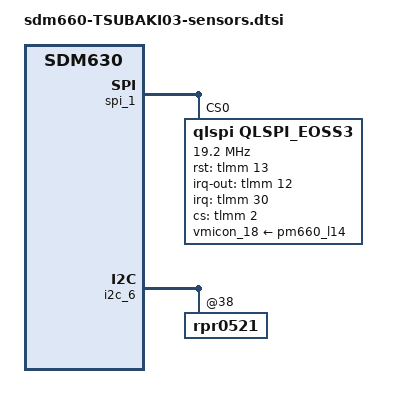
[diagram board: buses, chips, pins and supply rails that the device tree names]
/* Copyright (c) 2017, The Linux Foundation. All rights reserved.
 *
 * This program is free software; you can redistribute it and/or modify
 * it under the terms of the GNU General Public License version 2 and
 * only version 2 as published by the Free Software Foundation.
 *
 * This program is distributed in the hope that it will be useful,
 * but WITHOUT ANY WARRANTY; without even the implied warranty of
 * MERCHANTABILITY or FITNESS FOR A PARTICULAR PURPOSE.  See the
 * GNU General Public License for more details.
 */
/*
 * This software is contributed or developed by KYOCERA Corporation.
 * (C) 2019 KYOCERA Corporation
 */

#include "sdm630-common-sensors.dtsi"
&soc {
	/delete-node/ sensor_power;
};

&spi_1 {
	status = "ok";
	/delete-node/ sensor_micon;
	qlspi_eoss3@0 {
		compatible = "qlspi,qlspi_eoss3";
		reg = <0>;
		interrupt-parent = <&tlmm>;
		interrupts = <30 0>;
		spi-max-frequency = <19200000>;
		spi-min-frequency = <640000>;
		pinctrl-names = "sensor_micon_default", "sensor_micon_active", "sensor_micon_sleep",
						"sensor_micon_spi_cs_active", "sensor_micon_spi_cs_suspend", "sensor_micon_spi_cs_reset",
						"sensor_micon_rst_active", "sensor_micon_rst_suspend",
						"sensor_micon_vmicon_11_active","sensor_micon_vmicon_11_suspend",
						"sensor_micon_vsensor_18_active","sensor_micon_vsensor_18_suspend",
						"sensor_micon_vmicon_18_active","sensor_micon_vmicon_18_suspend",
						"spi_default", "spi_sleep", "sensor_micon_spi_cs_request";
		pinctrl-0 = <&micon_int_n_default &micon_int_out_default &micon_rst_n_default>;
		pinctrl-1 = <&micon_int_n_active &micon_int_out_active &micon_rst_n_active>;
		pinctrl-2 = <&micon_int_n_suspend &micon_int_out_suspend &micon_rst_n_suspend>;
		pinctrl-3 = <&sensor_micon_spi_cs_active>;
		pinctrl-4 = <&sensor_micon_spi_cs_suspend>;
		pinctrl-5 = <&sensor_micon_spi_cs_reset>;
		pinctrl-6 = <&sensor_micon_rst_active>;
		pinctrl-7 = <&sensor_micon_rst_suspend>;
		pinctrl-8 = <&sensor_micon_vmicon_11_active>;
		pinctrl-9 = <&sensor_micon_vmicon_11_suspend>;
		pinctrl-10 = <&sensor_micon_vsensor_18_active>;
		pinctrl-11 = <&sensor_micon_vsensor_18_suspend>;
/*
		pinctrl-12 = <&sensor_micon_vmicon_18_active>;
		pinctrl-13 = <&sensor_micon_vmicon_18_suspend>;
		pinctrl-14 = <&spi_micon_mosi_active
				 	  &spi_micon_miso_active
				 	  &spi_micon_clk_active>;
		pinctrl-15 = <&spi_micon_mosi_suspend
				 	  &spi_micon_miso_suspend
				 	  &spi_micon_clk_suspend>;
		pinctrl-16 = <&sensor_micon_spi_cs_request>;
*/
		qlspi,rst-gpio = <&tlmm 13 0>;
		qlspi,irq-out-gpio = <&tlmm 12 0>;
		qlspi,irq-gpio = <&tlmm 30 0>;
		qlspi,cs-gpio = <&tlmm 2 0>;
		//qlspi,fabrdy-gpio = <&msm_gpio 7 0>;

		spi-cs-low; /* CS Active Level LOW */
		micon-acc-conv_axis = /bits/ 8 <4>;
		micon-gyro-conv_axis = /bits/ 8 <4>;
		micon-mag-conv_axis = /bits/ 8 <4>;
		micon-mag-static_matrix = <0x258A 0x07BC 0x0082 0x0550 0x2198 0x001E 0x058C 0xFA1A 0x27C4>; /* 9610, 1980, 130, 1360, 8600, 30, 1420, -1510, 10180 */

		vmicon_18-supply = <&pm660_l14>;

		vmicon_11 {
			ctrl = <1>; /* 1:pinctrl, 2:pm ldo, 3:pm gpio*/
			gpio = <&tlmm 73 0>;
		};
		vmicon_18 {
			ctrl = <2>; /* 1:pinctrl, 2:pm ldo, 3:pm gpio*/
			voltage-min = <1800000>;
			voltage-max = <1800000>;
			load = <50000>;
		};
		sens_sleep_clk {
			ctrl = <3>; /* 1:pinctrl, 2:pm ldo, 3:pm gpio*/
			gpio = <&pm660_gpios 2 0>;
		};
		vsensor_18 {
			ctrl = <1>; /* 1:pinctrl, 2:pm ldo, 3:pm gpio*/
			gpio = <&tlmm 77 0>;
		};
	};
};

&i2c_6 {
	status = "ok";
	rpr0521@38 { /* Ambient light and proximity sensor */
		status = "ok";
		chip-vendor {
			type = <0>; /* 0:Qcom, 1:MediaTek */
		};
	};
};

&tlmm {
	/delete-node/ micon_brmp;
	micon_int_out {
		micon_int_out_default: micon_int_out_default {
			mux {
				pins = "gpio12";
				function = "gpio";
			};
			config {
				pins = "gpio12";
				drive-strength = <2>;
				bias-disable;
				ouput-low;
			};
		};
		micon_int_out_active: micon_int_out_active {
			mux {
				pins = "gpio12";
				function = "gpio";
			};
			config {
				pins = "gpio12";
				drive-strength = <2>;
				bias-disable;
				ouput-low;
			};
		};
		micon_int_out_suspend: micon_int_out_suspend {
			mux {
				pins = "gpio12";
				function = "gpio";
			};
			config {
				pins = "gpio12";
				drive-strength = <2>;
				bias-disable;
				ouput-low;
			};
		};
	};

	sensor_micon_spi_cs {
		sensor_micon_spi_cs_active: sensor_micon_spi_cs_active {
			mux {
				pins = "gpio2";
				function = "blsp_spi1";
			};
			config {
				pins = "gpio2";
				drive-strength = <2>;
				bias-disable;
				output-high;
			};
		};
		sensor_micon_spi_cs_suspend: sensor_micon_spi_cs_suspend {
			mux {
				pins = "gpio2";
				function = "gpio";
			};
			config {
				pins = "gpio2";
				drive-strength = <2>;
				bias-disable;
				output-low;
			};
		};
		sensor_micon_spi_cs_reset: sensor_micon_spi_cs_reset {
			mux {
				pins = "gpio2";
				function = "gpio";
			};
			config {
				pins = "gpio2";
				drive-strength = <2>;
				bias-disable;
				output-high;
			};
		};
	};
	sensor_micon_rst {
		sensor_micon_rst_active: sensor_micon_rst_active {
			mux {
				pins = "gpio13";
				function = "gpio";
			};
			config {
				pins = "gpio13";
				drive-strength = <2>;
				bias-disable;
				output-high;
			};
		};
		sensor_micon_rst_suspend: sensor_micon_rst_suspend {
			mux {
				pins = "gpio13";
				function = "gpio";
			};
			config {
				pins = "gpio13";
				drive-strength = <2>;
				bias-disable;
				output-low;
			};
		};
	};
	/delete-node/ micon_int_n;
	micon_int_n {
		micon_int_n_default: micon_int_n_default {
			mux {
				pins = "gpio30";
				function = "gpio";
			};
			config {
				pins = "gpio30";
				drive-strength = <2>;
				bias-pull-down;
			};
		};
		micon_int_n_active: micon_int_n_active {
			mux {
				pins = "gpio30";
				function = "gpio";
			};
			config {
				pins = "gpio30";
				drive-strength = <2>;
				bias-pull-down;
			};
		};
		micon_int_n_suspend: micon_int_n_suspend {
			mux {
				pins = "gpio30";
				function = "gpio";
			};
			config {
				pins = "gpio30";
				drive-strength = <2>;
				bias-pull-down;
			};
		};
	};
	sensor_micon_vmicon_11 {
		sensor_micon_vmicon_11_active: sensor_micon_vmicon_11_active {
			mux {
				pins = "gpio73";
				function = "gpio";
			};
			config {
				pins = "gpio73";
				device-strength = <2>;
				output-high;
				bias-disable;
			};
		};
		sensor_micon_vmicon_11_suspend: sensor_micon_vmicon_11_suspend {
			mux {
				pins = "gpio73";
				function = "gpio";
			};
			config {
				pins = "gpio73";
				device-strength = <2>;
				output-low;
				bias-disable;
			};
		};
	};
	sensor_micon_vsensor_18 {
		sensor_micon_vsensor_18_active: sensor_micon_vsensor_18_active {
			mux {
				pins = "gpio77";
				function = "gpio";
			};
			config {
				pins = "gpio77";
				device-strength = <2>;
				output-high;
				bias-disable;
			};
		};
		sensor_micon_vsensor_18_suspend: sensor_micon_vsensor_18_suspend {
			mux {
				pins = "gpio77";
				function = "gpio";
			};
			config {
				pins = "gpio77";
				device-strength = <2>;
				output-low;
				bias-disable;
			};
		};
	};
	/delete-node/ proximity_int_n;
	proximity_int_n {
		proximity_int_n_default: proximity_int_n_default {
			mux {
				pins = "gpio71";
				function = "gpio";
			};
			config {
				pins = "gpio71";
				drive-strength = <2>;
				bias-disable;
			};
		};
		proximity_int_n_active: proximity_int_n_active {
			mux {
				pins = "gpio71";
				function = "gpio";
			};
			config {
				pins = "gpio71";
				drive-strength = <2>;
				bias-disable;
			};
		};
		proximity_int_n_suspend: proximity_int_n_suspend {
			mux {
				pins = "gpio71";
				function = "gpio";
			};
			config {
				pins = "gpio71";
				drive-strength = <2>;
				bias-disable;
			};
		};
	};
	i2s_sck_micon {
		i2s_sck_micon_default: i2s_sck_micon_default {
			mux {
				pins = "gpio24";
				function = "gpio";
			};
			config {
				pins = "gpio24";
				drive-strength = <2>;
				bias-disable;
				output-low;
			};
		};
		i2s_sck_micon_active: i2s_sck_micon_active {
			mux {
				pins = "gpio24";
				function = "func3";
			};
			config {
				pins = "gpio24";
				drive-strength = <2>;
				bias-disable;
				output-low;
			};
		};
		i2s_sck_micon_suspend: i2s_sck_micon_suspend {
			mux {
				pins = "gpio24";
				function = "func3";
			};
			config {
				pins = "gpio24";
				drive-strength = <2>;
				bias-disable;
				output-low;
			};
		};
	};
	i2s_ws_micon {
		i2s_ws_micon_default: i2s_ws_micon_default {
			mux {
				pins = "gpio25";
				function = "gpio";
			};
			config {
				pins = "gpio25";
				drive-strength = <2>;
				bias-disable;
				output-low;
			};
		};
		i2s_ws_micon_active: i2s_ws_micon_active {
			mux {
				pins = "gpio25";
				function = "func3";
			};
			config {
				pins = "gpio25";
				drive-strength = <2>;
				bias-disable;
				output-low;
			};
		};
		i2s_ws_micon_suspend: i2s_ws_micon_suspend {
			mux {
				pins = "gpio25";
				function = "func3";
			};
			config {
				pins = "gpio25";
				drive-strength = <2>;
				bias-disable;
				output-low;
			};
		};
	};
	i2s_data_micon {
		i2s_data_micon_default: i2s_data_micon_default {
			mux {
				pins = "gpio26";
				function = "gpio";
			};
			config {
				pins = "gpio26";
				drive-strength = <2>;
				bias-pull-down;
			};
		};
		i2s_data_micon_active: i2s_data_micon_active {
			mux {
				pins = "gpio26";
				function = "func4";
			};
			config {
				pins = "gpio26";
				drive-strength = <2>;
				bias-pull-down;
			};
		};
		i2s_data_micon_suspend: i2s_data_micon_suspend {
			mux {
				pins = "gpio26";
				function = "func4";
			};
			config {
				pins = "gpio26";
				drive-strength = <2>;
				bias-pull-down;
			};
		};
	};

	/*spi setting*/
//	spi_micon_mosi {
//		status = "disabled";
//		spi_micon_mosi_default: spi_micon_mosi_default {
//			mux {
//				pins = "gpio15";
//				function = "gpio";
//			};
//			config {
//				pins = "gpio15";
//				bias-disable;
//				output-low;
//			};
//		};
//		spi_micon_mosi_active: spi_micon_mosi_active {
//			mux {
//				pins = "gpio15";
//				pinmux = "blsp_spi4";
//			};
//			config {
//				pins = "gpio15";
//				output-low;
//				bias-disable;
//			};
//		};
//		spi_micon_mosi_suspend: spi_micon_mosi_suspend {
//			mux {
//				pins = "gpio15";
//				function = "gpio";
//			};
//			config {
//				pins = "gpio15";
//				bias-disable;
//				output-low;
//			};
//		};
//	};
//	spi_micon_miso {
//		status = "disabled";
//		spi_micon_miso_default: spi_micon_miso_default {
//			mux {
//				pins = "gpio13";
//				function = "gpio";
//			};
//			config {
//				pins = "gpio13";
//				bias-pull-down;
//			};
//		};
//		spi_micon_miso_active: spi_micon_miso_active {
//			mux {
//				pins = "gpio13";
//				function = "blsp_spi4";
//			};
//			config {
//				pins = "gpio13";
//				input-enable;
//				bias-pull-down;
//			};
//		};
//		spi_micon_miso_suspend: spi_micon_miso_suspend {
//			mux {
//				pins = "gpio13";
//				function = "gpio";
//			};
//			config {
//				pins = "gpio13";
//				bias-pull-down;
//			};
//		};
//	};
//
//	spi_micon_clk {
//		status = "disabled";
//		spi_micon_clk_default: spi_micon_clk_default {
//			pins_cmd_dat {
//				pins = "gpio16";
//				function = "gpio";
//			};
//			config {
//				pins = "gpio16";
//				bias-disable;
//				output-low;
//			};
//		};
//		spi_micon_clk_active: spi_micon_clk_active {
//			mux {
//				pins = "gpio16";
//				function = "blsp_spi4";
//			};
//			config {
//				pins = "gpio16";
//				bias-disable;
//				output-low;
//			};
//		};
//		spi_micon_clk_suspend: spi_micon_clk_suspend {
//			pins_cmd_dat {
//				pins = "gpio16";
//				function = "gpio";
//			};
//			config {
//				pins = "gpio16";
//				bias-disable;
//				output-low;
//			};
//		};
//	};
};
